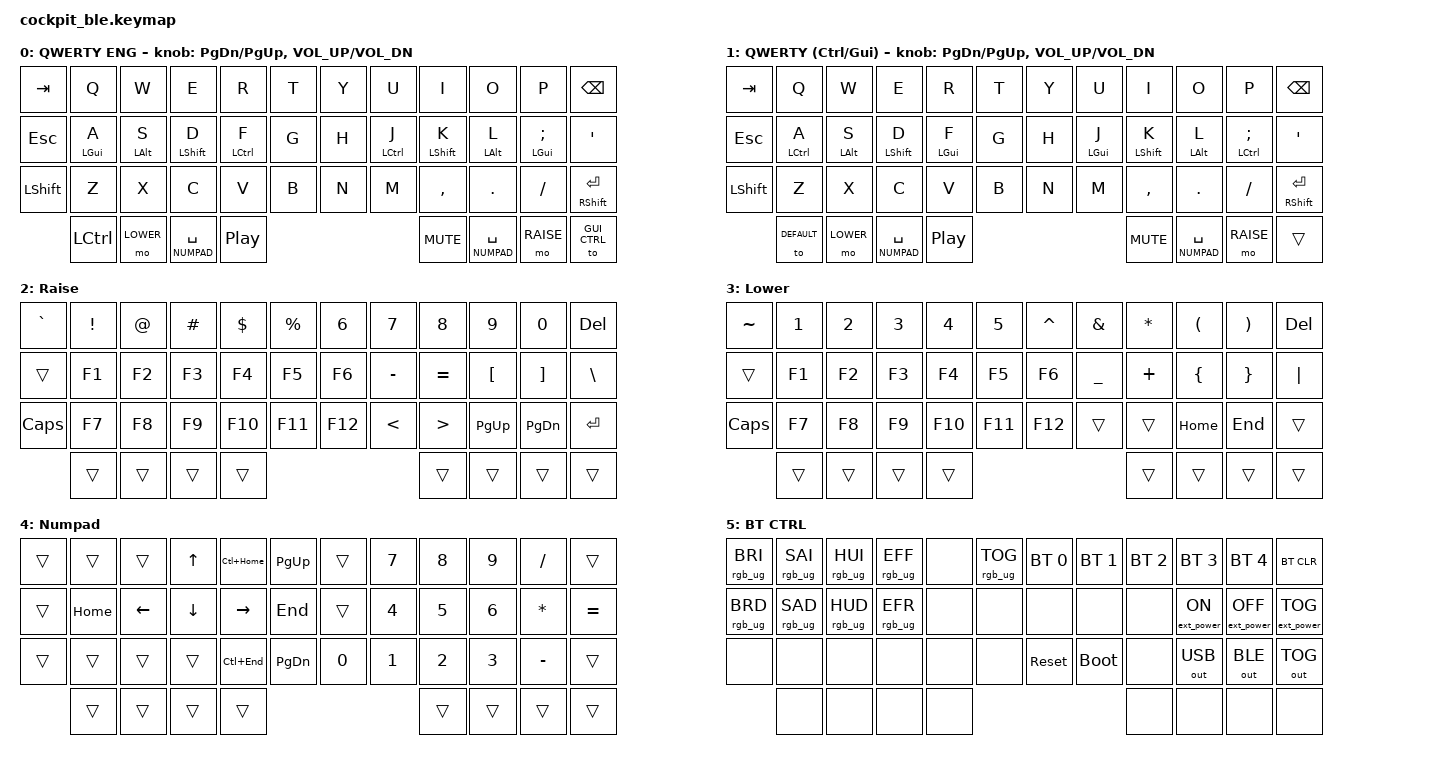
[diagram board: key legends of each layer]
/*
 * Copyright (c) 2023 arpacique (github.com/arpacique)
 *
 * SPDX-License-Identifier: MIT
 */

#include <behaviors.dtsi>
#include <dt-bindings/zmk/keys.h>
#include <dt-bindings/zmk/ext_power.h>
#include <dt-bindings/zmk/outputs.h>
#include <dt-bindings/zmk/bt.h>
#include <dt-bindings/zmk/rgb.h>


// Layers
#define DEFAULT 0
#define GUI_CTRL 1
#define RAISE 2
#define LOWER 3
#define NUMPAD 4
#define BT_CTRL  5

&mt {
    flavor = "tap-preferred";
    tapping_term_ms = <170>;
};

// Using layer taps on thumbs, having quick tap as well helps w/ repeating space
&lt {
  quick_tap_ms = <200>;
};

&left_encoder {
     resolution = <4>; 
};
&right_encoder {
     resolution = <4>; 
};


/ {
    conditional_layers {
        compatible = "zmk,conditional-layers";
        tri_layer {
            if-layers = <2 3>; //lower and raise
            then-layer = <5>;  // bt_ctrl
        };
    };

    behaviors {
        ht: hold_tap {
            compatible = "zmk,behavior-hold-tap";
            #binding-cells = <2>;
            flavor = "tap-preferred";
            tapping-term-ms = <200>;
            quick-tap-ms = <150>;
            global-quick-tap;
            bindings = <&kp>, <&kp>;
        };
        rgb_encoder_right: rgb_encoder_right {
            compatible = "zmk,behavior-sensor-rotate";
            #sensor-binding-cells = <0>;
            bindings =  <&rgb_ug RGB_BRI>, <&rgb_ug RGB_BRD>;
        };
        rgb_encoder_left: rgb_encoder_left {
            compatible = "zmk,behavior-sensor-rotate";
            #sensor-binding-cells = <0>;
            bindings = <&rgb_ug RGB_EFF>, <&rgb_ug RGB_EFR>;
        };
    };

        combos {    
        compatible = "zmk,combos";
        
         studio_unlocking {
            timeout-ms = <50>;
            key-positions = <1 2>; 
            bindings = <&studio_unlock>; 
            layers = <DEFAULT>;     
        }; 

    };



    keymap {
        compatible = "zmk,keymap";
        default_layer {
       // ╭──────┬──────┬──────┬──────┬──────┬──────╮                          ╭──────┬──────┬──────┬──────┬──────┬──────╮
       // │ TAB  │  Q   │  W   │  E   │  R   │  T   │                          │  Y   │  U   │  I   │  O   │  P   │ BSPC │
       // ├──────┼──────┼──────┼──────┼──────┼──────┤                          ├──────┼──────┼──────┼──────┼──────┼──────┤
       // │ ESC  │ GUI_A│ALT_S │SFT_D │CTL_F │  G   │                          │  H   │CTL_J │SFT_K │ALT_L │GUI_; │  '   │
       // ├──────┼──────┼──────┼──────┼──────┼──────┤                          ├──────┼──────┼──────┼──────┼──────┼──────┤
       // │LSHFT │  Z   │  X   │  C   │  V   │  B   │         (ENCODERS)       │  N   │  M   │  ,   │  .   │  /   │RSHFT_ENT│
       // ╰──────┴──────┴──────┼──────┼──────┼──────┴─╮ ╭────────╮╭────────╮ ╭─┴──────┼──────┼──────┼──────┴──────┴──────╯
       //                      │LCTRL │LOWER │L(NP)   │ │  PLAY  ││  MUTE  │ │ L(NP)  │RAISE │ toGuı│
       //                      ╰──────┴──────┴────────╯ ╰────────╯╰────────╯ ╰────────┴──────┴──────╯            
            display-name = "QWERTY ENG";
            bindings = <
                &kp TAB   &kp Q      &kp W      &kp E       &kp R       &kp T             &kp Y     &kp U        &kp I       &kp O      &kp P         &kp BSPC
                &kp ESC   &mt LGUI A &mt LALT S &mt LSHFT D &mt LCTRL F &kp G             &kp H     &mt LCTRL J  &mt LSHFT K &mt LALT L &mt LGUI SEMI &kp SQT
                &kp LSHFT &kp Z      &kp X      &kp C       &kp V       &kp B             &kp N     &kp M        &kp COMMA   &kp DOT    &kp FSLH      &mt RSHFT ENTER
                            &kp LCTRL    &mo LOWER   &lt NUMPAD SPACE       &kp C_PLAY_PAUSE  &kp C_MUTE          &lt NUMPAD SPACE    &mo RAISE    &to GUI_CTRL    
            >;
            sensor-bindings = <&inc_dec_kp PG_DN PG_UP &inc_dec_kp C_VOL_UP C_VOL_DN>;
        };

        gui_ctrl_layer {
       // ╭──────┬──────┬──────┬──────┬──────┬──────╮                          ╭──────┬──────┬──────┬──────┬──────┬──────╮
       // │ TAB  │  Q   │  W   │  E   │  R   │  T   │                          │  Y   │  U   │  I   │  O   │  P   │ BSPC │
       // ├──────┼──────┼──────┼──────┼──────┼──────┤                          ├──────┼──────┼──────┼──────┼──────┼──────┤
       // │ ESC  │CTL_A │ALT_S │SFT_D │GUI_F │  G   │                          │  H   │GUI_J │SFT_K │ALT_L │CTL_; │  '   │
       // ├──────┼──────┼──────┼──────┼──────┼──────┤                          ├──────┼──────┼──────┼──────┼──────┼──────┤
       // │LSHFT │  Z   │  X   │  C   │  V   │  B   │         (ENCODERS)       │  N   │  M   │  ,   │  .   │  /   │RSHFT_ENT│
       // ╰──────┴──────┴──────┼──────┼──────┼──────┴─╮ ╭────────╮╭────────╮ ╭─┴──────┼──────┼──────┼──────┴──────┴──────╯
       //                      |toDef │LOWER │L(NP)   │ │  PLAY  ││  MUTE  │ │ L(NP)  │RAISE │ toGui│
       //                      ╰──────┴──────┴────────╯ ╰────────╯╰────────╯ ╰────────┴──────┴──────╯            
            display-name = "QWERTY (Ctrl/Gui)";
            bindings = <
                &kp TAB   &kp Q      &kp W      &kp E       &kp R       &kp T             &kp Y     &kp U        &kp I       &kp O      &kp P         &kp BSPC
                &kp ESC   &mt LCTRL A &mt LALT S &mt LSHFT D &mt LGUI F &kp G             &kp H     &mt LGUI J  &mt LSHFT K &mt LALT L &mt LCTRL SEMI &kp SQT
                &kp LSHFT &kp Z      &kp X      &kp C       &kp V       &kp B             &kp N     &kp M        &kp COMMA   &kp DOT    &kp FSLH      &mt RSHFT ENTER
                            &to DEFAULT   &mo LOWER   &lt NUMPAD SPACE       &kp C_PLAY_PAUSE  &kp C_MUTE          &lt NUMPAD SPACE    &mo RAISE   &trans     
            >;
            sensor-bindings = <&inc_dec_kp PG_DN PG_UP &inc_dec_kp C_VOL_UP C_VOL_DN>;
        };

        raise_layer {
        // ╭──────┬──────┬──────┬──────┬──────┬──────╮                          ╭──────┬──────┬──────┬──────┬──────┬──────╮
        // │ `~   │  !   │  @   │  #   │  $   │  %   │                          │  6   │  7   │  8   │  9   │  0   │ DEL  │
        // ├──────┼──────┼──────┼──────┼──────┼──────┤                          ├──────┼──────┼──────┼──────┼──────┼──────┤
        // │  -   │  F1  │  F2  │  F3  │  F4  │  F5  │                          │  F6  │  -   │  =   │  [   │  ]   │  \   │
        // ├──────┼──────┼──────┼──────┼──────┼──────┤                          ├──────┼──────┼──────┼──────┼──────┼──────┤
        // │CAPS  │  F7  │  F8  │  F9  │ F10  │ F11  │                          │ F12  │  <   │  >   │ PG_UP│ PG_DN│ ENTER│
        // ╰──────┴──────┴──────┼──────┼──────┼──────┴─╮ ╭────────╮╭────────╮ ╭─┴──────┼──────┼──────┼──────┴──────┴──────╯
        //                      │      │      │        │ │        ││        │ │        │      │      │
        //                      ╰──────┴──────┴────────╯ ╰────────╯╰────────╯ ╰────────┴──────┴──────╯   
            display-name = "Raise";         
            bindings = <
                &kp GRAVE &kp EXCL &kp AT   &kp HASH &kp DLLR    &kp PRCNT  &kp N6    &kp N7      &kp N8     &kp N9       &kp N0       &kp DEL
                &trans    &kp F1   &kp F2   &kp F3   &kp F4      &kp F5     &kp F6    &kp MINUS   &kp EQUAL  &kp LBKT     &kp RBKT     &kp BSLH
                &kp CAPS  &kp F7   &kp F8   &kp F9   &kp F10     &kp F11    &kp F12   &kp LT      &kp GT     &kp PG_UP    &kp PG_DN    &kp ENTER
                                         &trans  &trans    &trans         &trans  &trans       &trans      &trans    &trans
            >;

        };
 
        lower_layer {
        // ╭──────┬──────┬──────┬──────┬──────┬──────╮                          ╭──────┬──────┬──────┬──────┬──────┬──────╮
        // │  ~   │  1   │  2   │  3   │  4   │  5   │                          │  ^   │  &   │  *   │  (   │  )   │ DEL  │
        // ├──────┼──────┼──────┼──────┼──────┼──────┤                          ├──────┼──────┼──────┼──────┼──────┼──────┤
        // │      │  F1  │  F2  │  F3  │  F4  │  F5  │                          │  F6  │  _   │  +   │  {   │  }   │  |   │
        // ├──────┼──────┼──────┼──────┼──────┼──────┤                          ├──────┼──────┼──────┼──────┼──────┼──────┤
        // │CAPS  │  F7  │  F8  │  F9  │ F10  │ F11  │                          │ F12  │      │      │ HOME │ END  │      │
        // ╰──────┴──────┴──────┼──────┼──────┼──────┴─╮ ╭────────╮╭────────╮ ╭─┴──────┼──────┼──────┼──────┴──────┴──────╯
        //                      │      │      │        │ │        ││        │ │        │      │      │
        //                      ╰──────┴──────┴────────╯ ╰────────╯╰────────╯ ╰────────┴──────┴──────╯    
            display-name = "Lower";        
            bindings = <
                &kp TILDE  &kp N1   &kp N2   &kp N3   &kp N4      &kp N5     &kp CARET &kp AMPS     &kp ASTRK  &kp LPAR     &kp RPAR     &kp DEL
                &trans     &kp F1   &kp F2   &kp F3   &kp F4      &kp F5     &kp F6    &kp UNDER    &kp PLUS   &kp LBRC     &kp RBRC     &kp PIPE
                &kp CAPS   &kp F7   &kp F8   &kp F9   &kp F10     &kp F11    &kp F12   &trans       &trans     &kp HOME     &kp END      &trans
                                         &trans  &trans    &trans         &trans  &trans       &trans      &trans    &trans
            >;           
            
        };
        
       

        numpad {
        // ╭──────┬──────┬──────┬──────┬──────┬──────╮                          ╭──────┬──────┬──────┬──────┬──────┬──────╮
        // │      │      │      │  UP  │C HOME│PageUp│                          │      │  7   │  8   │  9   │  /   │      │
        // ├──────┼──────┼──────┼──────┼──────┼──────┤                          ├──────┼──────┼──────┼──────┼──────┼──────┤
        // │      │ HOME │ LEFT │ DOWN │ RIGHT│ END  │                          │      │  4   │  5   │  6   │  *   │  =   │
        // ├──────┼──────┼──────┼──────┼──────┼──────┤                          ├──────┼──────┼──────┼──────┼──────┼──────┤
        // │      │      │      │      │C END │PageDn│                          │  0   │  1   │  2   │  3   │  -   │      │
        // ╰──────┴──────┴──────┼──────┼──────┼──────┴─╮ ╭────────╮╭────────╮ ╭─┴──────┼──────┼──────┼──────┴──────┴──────╯
        //                      │      │      │        │ │        ││        │ │        │      │      │
        //                      ╰──────┴──────┴────────╯ ╰────────╯╰────────╯ ╰────────┴──────┴──────╯
            display-name = "Numpad";            
            bindings = <
                &trans     &trans       &trans       &kp UP      &kp LC(HOME) &kp PG_UP    &trans    &kp N7    &kp N8     &kp N9   &kp FSLH    &trans
                &trans     &kp HOME     &kp LEFT     &kp DOWN    &kp RIGHT    &kp END     &trans    &kp N4    &kp N5     &kp N6   &kp ASTRK   &kp EQUAL
                &trans     &trans       &trans       &trans      &kp LC(END)  &kp PG_DN    &kp N0    &kp N1    &kp N2     &kp N3   &kp MINUS   &trans
                                         &trans  &trans    &trans         &trans  &trans       &trans      &trans    &trans
            >;
        };

        bt_ctrl {
        // ╭──────┬──────┬──────┬──────┬──────┬──────╮                          ╭──────┬──────┬──────┬──────┬──────┬──────╮
        // │ BRI+ │ SAT+ │ HUE+ │ EFF+ │      │ TOG  │                          │ BT0  │ BT1  │ BT2  │ BT3  │ BT4  │CLR   │
        // ├──────┼──────┼──────┼──────┼──────┼──────┤                          ├──────┼──────┼──────┼──────┼──────┼──────┤
        // │ BRI- │ SAT- │ HUE- │ EFF- │      │      │                          │      │      │      │EP_ON │EP_OFF│EP_TOG│
        // ├──────┼──────┼──────┼──────┼──────┼──────┤                          ├──────┼──────┼──────┼──────┼──────┼──────┤
        // │      │      │      │      │      │      │                          │RESET │BOOT  │      │USB   │BLE   │TOG   │
        // ╰──────┴──────┴──────┼──────┼──────┼──────┴─╮ ╭────────╮╭────────╮ ╭─┴──────┼──────┼──────┼──────┴──────┴──────╯
        //                      │      │      │        │ │        ││        │ │        │      │      │
        //                      ╰──────┴──────┴────────╯ ╰────────╯╰────────╯ ╰────────┴──────┴──────╯    
            display-name = "BT CTRL";        
            bindings = <
                &rgb_ug RGB_BRI &rgb_ug RGB_SAI &rgb_ug RGB_HUI &rgb_ug RGB_EFF &none &rgb_ug RGB_TOG              &bt BT_SEL 0 &bt BT_SEL 1  &bt BT_SEL 2 &bt BT_SEL 3       &bt BT_SEL 4        &bt BT_CLR
                &rgb_ug RGB_BRD &rgb_ug RGB_SAD &rgb_ug RGB_HUD &rgb_ug RGB_EFR &none &none                        &none        &none         &none        &ext_power EP_ON   &ext_power EP_OFF   &ext_power EP_TOG
                &none           &none           &none           &none           &none &none                        &sys_reset   &bootloader   &none        &out OUT_USB       &out OUT_BLE        &out OUT_TOG
                                                &none           &none           &none         &none      &none     &none        &none        &none
            >;
        };
    };
};






